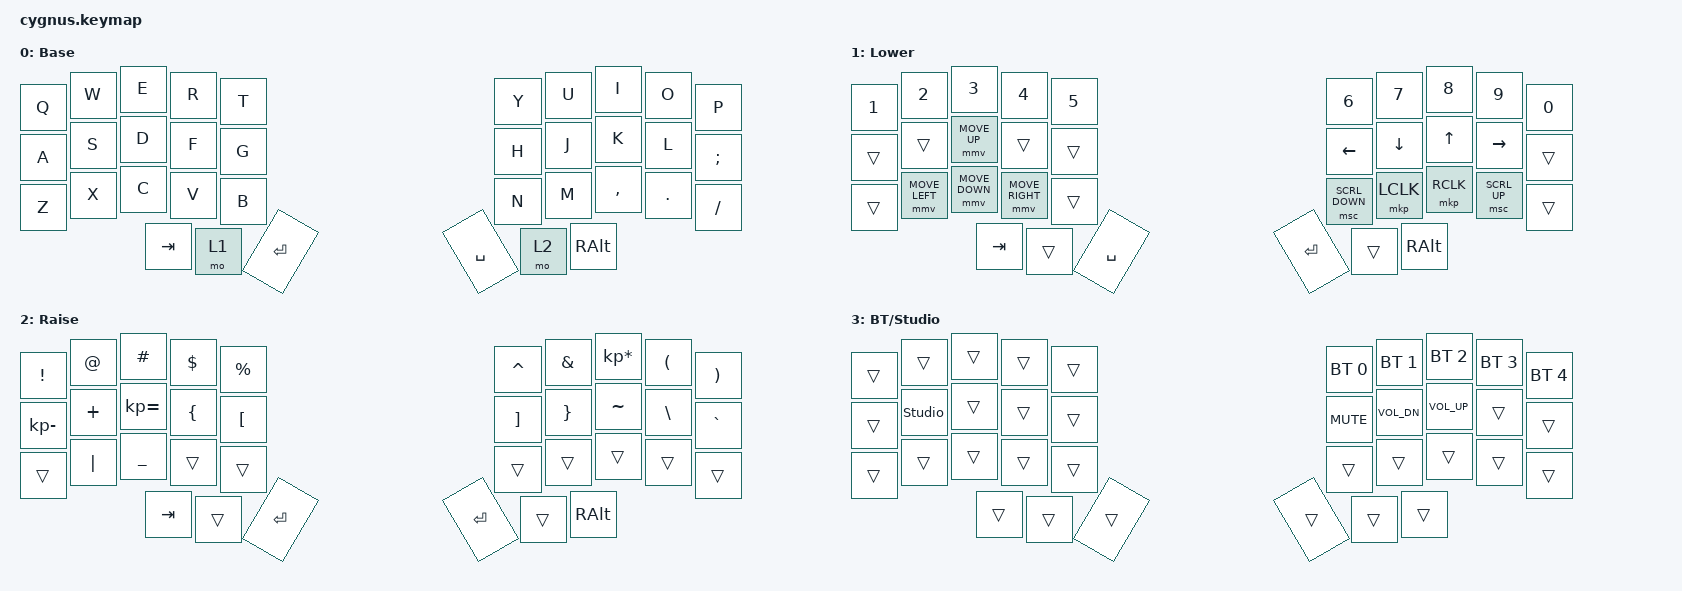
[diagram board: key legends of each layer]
/*
 * Copyright (c) 2020 The ZMK Contributors
 *
 * SPDX-License-Identifier: MIT
 */

#include <behaviors.dtsi>
#include <dt-bindings/zmk/bt.h>
#include <dt-bindings/zmk/keys.h>
#include <dt-bindings/zmk/pointing.h>

/ {
    keymap {
        compatible = "zmk,keymap";

        default_layer {
            display-name = "Base";
            bindings = <
&kp Q  &kp W  &kp E  &kp R    &kp T        &kp Y      &kp U  &kp I      &kp O    &kp P
&kp A  &kp S  &kp D  &kp F    &kp G        &kp H      &kp J  &kp K      &kp L    &kp SEMI
&kp Z  &kp X  &kp C  &kp V    &kp B        &kp N      &kp M  &kp COMMA  &kp DOT  &kp FSLH
                     &kp TAB  &mo 1  &kp ENTER    &kp SPACE  &mo 2  &kp RALT
            >;
        };

        lower_layer {
            display-name = "Lower";
            bindings = <
&kp N1  &kp N2         &kp N3         &kp N4          &kp N5        &kp N6          &kp N7     &kp N8     &kp N9        &kp N0
&trans  &trans         &mmv MOVE_UP  &trans          &trans        &kp LEFT        &kp DOWN   &kp UP     &kp RIGHT     &trans
&trans  &mmv MOVE_LEFT &mmv MOVE_DOWN &mmv MOVE_RIGHT &trans        &msc SCRL_DOWN  &mkp LCLK  &mkp RCLK  &msc SCRL_UP  &trans
                                      &kp TAB         &trans        &kp SPACE       &kp RET    &trans     &kp RALT
            >;
        };

        raise_layer {
            display-name = "Raise";
            bindings = <
&kp EXCL      &kp AT    &kp HASH        &kp DLLR        &kp PRCNT           &kp CARET          &kp AMPS         &kp KP_MULTIPLY  &kp LEFT_PARENTHESIS  &kp RIGHT_PARENTHESIS
&kp KP_MINUS  &kp PLUS  &kp KP_EQUAL    &kp LEFT_BRACE  &kp LEFT_BRACKET    &kp RIGHT_BRACKET  &kp RIGHT_BRACE  &kp TILDE        &kp BACKSLASH         &kp GRAVE
&trans        &kp PIPE  &kp UNDERSCORE  &trans          &trans              &trans             &trans           &trans           &trans                &trans
                                        &kp TAB         &trans              &kp ENTER          &kp RET          &trans           &kp RALT
            >;
        };

        // Hold Lower + Raise together (middle thumb key on each half).
        // Tap S on this layer to unlock ZMK Studio.
        bt_layer {
            display-name = "BT/Studio";
            bindings = <
&trans  &trans           &trans  &trans  &trans    &bt BT_SEL 0  &bt BT_SEL 1  &bt BT_SEL 2  &bt BT_SEL 3  &bt BT_SEL 4
&trans  &studio_unlock   &trans  &trans  &trans    &kp C_MUTE    &kp C_VOL_DN  &kp C_VOL_UP  &trans        &trans
&trans  &trans           &trans  &trans  &trans    &trans        &trans        &trans        &trans        &trans
                                 &trans  &trans  &trans    &trans        &trans        &trans
            >;
        };
    };

    conditional_layers {
        compatible = "zmk,conditional-layers";

        tri_layer {
            if-layers = <1 2>;
            then-layer = <3>;
        };
    };
};
